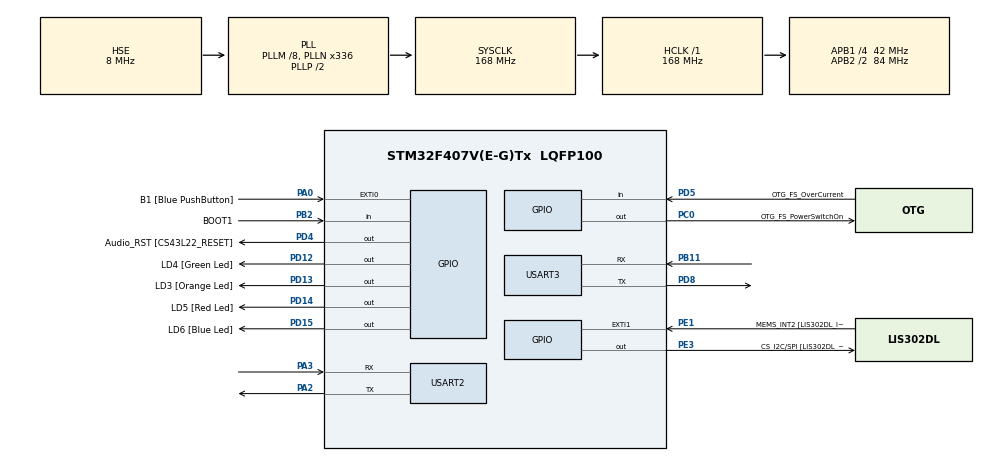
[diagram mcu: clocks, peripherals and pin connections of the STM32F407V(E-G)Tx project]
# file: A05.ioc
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Mcu.Family=STM32F4
PA11.GPIO_Speed=GPIO_SPEED_FREQ_LOW
NVIC.USART3_IRQn=true\:5\:0\:false\:false\:true\:true\:true\:true
PC3.GPIO_Mode=GPIO_MODE_AF_PP
FREERTOS.Queues01=RxTaskQ,16,uint8_t,0,Dynamic,NULL,NULL;TxTaskQ,16,uint8_t,0,Dynamic,NULL,NULL;RxTask2Q,16,uint8_t,0,Dynamic,NULL,NULL;TxTask2Q,16,uint8_t,0,Dynamic,NULL,NULL;dummyTask1Q,16,uint8_t,0,Dynamic,NULL,NULL;dummyTask2Q,16,uint8_t,0,Dynamic,NULL,NULL
PD12.GPIO_Label=LD4 [Green Led]
PH0-OSC_IN.Signal=RCC_OSC_IN
VP_SYS_VS_tim6.Mode=TIM6
RCC.CortexFreq_Value=168000000
PC10.GPIO_PuPd=GPIO_NOPULL
PB10.GPIO_Speed=GPIO_SPEED_FREQ_LOW
PB6.GPIO_Mode=GPIO_MODE_AF_OD
PB10.GPIO_PuPd=GPIO_NOPULL
NVIC.TIM6_DAC_IRQn=true\:0\:0\:false\:false\:true\:false\:false\:true
PA10.GPIO_PuPd=GPIO_NOPULL
PD15.GPIO_Speed=GPIO_SPEED_FREQ_LOW
PC10.Signal=I2S3_CK
PC12.Signal=I2S3_SD
PA14.GPIO_Label=SWCLK
PA7.GPIO_Mode=GPIO_MODE_AF_PP
PC0.GPIO_Label=OTG_FS_PowerSwitchOn
PA6.GPIO_Label=SPI1_MISO [LIS302DL_SDO]
PB6.GPIO_Label=Audio_SCL [CS43L22_SCL]
PC10.GPIO_Speed=GPIO_SPEED_FREQ_LOW
PA11.GPIO_PuPd=GPIO_NOPULL
PB11.Signal=USART3_RX
PC15-OSC32_OUT.GPIO_Label=PC15-OSC32_OUT
PC3.GPIO_Speed=GPIO_SPEED_FREQ_LOW
RCC.SYSCLKSource=RCC_SYSCLKSOURCE_PLLCLK
ProjectManager.StackSize=0x400
PA6.GPIO_Mode=GPIO_MODE_AF_PP
VP_FREERTOS_VS_CMSIS_V2.Mode=CMSIS_V2
PD13.Signal=GPIO_Output
PD14.GPIO_Speed=GPIO_SPEED_FREQ_LOW
FREERTOS.configENABLE_FPU=1
PA12.Signal=USB_OTG_FS_DP
RCC.HCLKFreq_Value=168000000
PD4.Signal=GPIO_Output
RCC.APB2TimFreq_Value=168000000
PB6.Signal=I2C1_SCL
PC7.Signal=I2S3_MCK
PC3.Signal=I2S2_SD
PD8.Signal=USART3_TX
PE1.Signal=GPXTI1
RCC.AHBFreq_Value=168000000
PH0-OSC_IN.Mode=HSE-External-Oscillator
PH0-OSC_IN.GPIO_Label=PH0-OSC_IN
PA9.GPIO_Mode=GPIO_MODE_INPUT
RCC.HSE_VALUE=8000000
PA4.GPIO_PuPd=GPIO_NOPULL
PB2.Signal=GPIO_Input
PA4.GPIO_Speed=GPIO_SPEED_FREQ_LOW
PA6.GPIO_PuPd=GPIO_NOPULL
PC14-OSC32_IN.Mode=LSE-External-Oscillator
PA14.Mode=Serial_Wire
PA5.GPIO_PuPd=GPIO_NOPULL
PA10.GPIO_Label=OTG_FS_ID
PC7.GPIO_Mode=GPIO_MODE_AF_PP
PD5.GPIO_Mode=GPIO_MODE_INPUT
PD14.GPIO_PuPd=GPIO_NOPULL
PB2.GPIO_PuPd=GPIO_NOPULL
PH1-OSC_OUT.Mode=HSE-External-Oscillator
PD13.GPIO_Label=LD3 [Orange Led]
Mcu.Package=LQFP100
PB9.Signal=I2C1_SDA
PA6.Signal=SPI1_MISO
NVIC.TimeBase=TIM6_DAC_IRQn
USART2.VirtualMode=VM_ASYNC
PD12.Signal=GPIO_Output
PD5.GPIO_Label=OTG_FS_OverCurrent
PD15.GPIO_PuPd=GPIO_NOPULL
NVIC.TimeBaseIP=TIM6
PA10.Signal=USB_OTG_FS_ID
PB9.GPIO_PuPd=GPIO_NOPULL
PA10.GPIO_Speed=GPIO_SPEED_FREQ_LOW
RCC.APB2CLKDivider=RCC_HCLK_DIV2
PB9.GPIO_Speed=GPIO_SPEED_FREQ_LOW
RCC.APB1TimFreq_Value=84000000
PC14-OSC32_IN.GPIO_Label=PC14-OSC32_IN
PC12.GPIO_PuPd=GPIO_NOPULL
PA6.GPIO_Speed=GPIO_SPEED_FREQ_LOW
PC0.GPIO_PuPd=GPIO_NOPULL
FREERTOS.configMAX_TASK_NAME_LEN=32
PA12.GPIO_PuPd=GPIO_NOPULL
PA4.GPIO_Label=I2S3_WS [CS43L22_LRCK]
PD15.Signal=GPIO_Output
PC0.PinState=GPIO_PIN_SET
PA12.GPIO_Speed=GPIO_SPEED_FREQ_LOW
PA3.Signal=USART2_RX
PB3.GPIO_Label=SWO
RCC.PLLSourceVirtual=RCC_PLLSOURCE_HSE
PC15-OSC32_OUT.Mode=LSE-External-Oscillator
PD12.GPIO_Speed=GPIO_SPEED_FREQ_LOW
FREERTOS.Tasks01=RxTask,24,128,fvdRxTask,Default,NULL,Dynamic,NULL,NULL;TxTask,8,128,fvdTxTask,Default,NULL,Dynamic,NULL,NULL;RxTask2,24,128,fvdRxTask2,Default,NULL,Dynamic,NULL,NULL;TxTask2,8,128,fvdTxTask2,Default,NULL,Dynamic,NULL,NULL;dummyTask1,8,128,fvddummyTask1,Default,NULL,Dynamic,NULL,NULL;dummyTask2,8,128,fvddummyTask2,Default,NULL,Dynamic,NULL,NULL
PD15.GPIO_Label=LD6 [Blue Led]
PB9.GPIO_Label=Audio_SDA [CS43L22_SDA]
PC10.GPIO_Label=I2S3_SCK [CS43L22_SCLK]
PA9.GPIO_Label=VBUS_FS
PB6.GPIO_PuPd=GPIO_NOPULL
PA11.GPIO_Label=OTG_FS_DM
PE1.GPIO_PuPd=GPIO_NOPULL
PD5.Signal=GPIO_Input
FREERTOS.CountingSemaphores01=TxBufSema,2,Dynamic,NULL;RxBufSema,2,Dynamic,NULL;Tx2BufSema,2,Dynamic,NULL;Rx2BufSema,2,Dynamic,NULL
PC0.Signal=GPIO_Output
PE1.GPIO_ModeDefaultEXTI=GPIO_MODE_EVT_RISING
RCC.APB1CLKDivider=RCC_HCLK_DIV4
PC14-OSC32_IN.Signal=RCC_OSC32_IN
PA9.GPIO_PuPd=GPIO_NOPULL
NVIC.USART2_IRQn=true\:5\:0\:false\:false\:true\:true\:true\:true
PA0-WKUP.GPIO_ModeDefaultEXTI=GPIO_MODE_EVT_RISING
PA12.GPIO_Label=OTG_FS_DP
PA0-WKUP.GPIO_Label=B1 [Blue PushButton]
PA0-WKUP.Signal=GPXTI0
PA10.GPIO_Mode=GPIO_MODE_AF_PP
PA3.Mode=Asynchronous
PA13.Signal=SYS_JTMS-SWDIO
PC10.GPIO_Mode=GPIO_MODE_AF_PP
PD4.GPIO_PuPd=GPIO_NOPULL
PC0.GPIO_Speed=GPIO_SPEED_FREQ_LOW
PB10.GPIO_Mode=GPIO_MODE_AF_PP
PB11.Mode=Asynchronous
ProjectManager.TargetToolchain=STM32CubeIDE
PB10.GPIO_Label=CLK_IN [MP45DT02_CLK]
PA9.Signal=USB_OTG_FS_VBUS
PC7.GPIO_PuPd=GPIO_NOPULL
PC15-OSC32_OUT.Signal=RCC_OSC32_OUT
PD8.Mode=Asynchronous
PA7.GPIO_PuPd=GPIO_NOPULL
PB10.Signal=I2S2_CK
PA5.Signal=SPI1_SCK
board=STM32F407G-DISC1
PD13.GPIO_Speed=GPIO_SPEED_FREQ_LOW
PC7.GPIO_Speed=GPIO_SPEED_FREQ_LOW
RCC.VCOOutputFreq_Value=336000000
PE1.GPIO_Label=MEMS_INT2 [LIS302DL_INT2]
PA7.GPIO_Speed=GPIO_SPEED_FREQ_LOW
PB9.GPIO_Mode=GPIO_MODE_AF_OD
PA12.GPIO_Mode=GPIO_MODE_AF_PP
PA4.GPIO_Mode=GPIO_MODE_AF_PP
RCC.APB2Freq_Value=84000000
PB2.GPIO_Mode=GPIO_MODE_INPUT
PD4.GPIO_Label=Audio_RST [CS43L22_RESET]
PD4.GPIO_Speed=GPIO_SPEED_FREQ_LOW
PE3.GPIO_PuPd=GPIO_NOPULL
PH1-OSC_OUT.Signal=RCC_OSC_OUT
PD13.GPIO_PuPd=GPIO_NOPULL
PD5.GPIO_PuPd=GPIO_NOPULL
PD14.GPIO_Label=LD5 [Red Led]
PH1-OSC_OUT.GPIO_Label=PH1-OSC_OUT
PA13.Mode=Serial_Wire
Mcu.Name=STM32F407V(E-G)Tx
PA2.Signal=USART2_TX
PA13.GPIO_Label=SWDIO
PC7.GPIO_Label=I2S3_MCK [CS43L22_MCLK]
PD14.Signal=GPIO_Output
RCC.48MHZClocksFreq_Value=48000000
PB3.Signal=SYS_JTDO-SWO
PA4.Signal=I2S3_WS
RCC.SYSCLKFreq_VALUE=168000000
PC12.GPIO_Mode=GPIO_MODE_AF_PP
PA7.GPIO_Label=SPI1_MOSI [LIS302DL_SDA/SDI/SDO]
PA5.GPIO_Label=SPI1_SCK [LIS302DL_SCL/SPC]
USART3.VirtualMode=VM_ASYNC
PE3.GPIO_Speed=GPIO_SPEED_FREQ_LOW
PC12.GPIO_Label=I2S3_SD [CS43L22_SDIN]
PA11.Signal=USB_OTG_FS_DM
PA14.Signal=SYS_JTCK-SWCLK
PB2.GPIO_Label=BOOT1
ProjectManager.HeapSize=0x200
RCC.HSI_VALUE=16000000
PA5.GPIO_Speed=GPIO_SPEED_FREQ_LOW
RCC.PLLQ=7
NVIC.PriorityGroup=NVIC_PRIORITYGROUP_4
RCC.PLLM=8
RCC.PLLN=336
PE3.Signal=GPIO_Output
PA2.Mode=Asynchronous
PE3.GPIO_Label=CS_I2C/SPI [LIS302DL_CS_I2C/SPI]
PC3.GPIO_Label=PDM_OUT [MP45DT02_DOUT]
PA0-WKUP.GPIO_PuPd=GPIO_NOPULL
PA11.GPIO_Mode=GPIO_MODE_AF_PP
PB6.GPIO_Speed=GPIO_SPEED_FREQ_LOW
RCC.APB1Freq_Value=42000000
PA5.GPIO_Mode=GPIO_MODE_AF_PP
PC12.GPIO_Speed=GPIO_SPEED_FREQ_LOW
PC3.GPIO_PuPd=GPIO_NOPULL
PD12.GPIO_PuPd=GPIO_NOPULL
PA7.Signal=SPI1_MOSI

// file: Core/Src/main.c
/* USER CODE BEGIN Header */
/**
  ******************************************************************************
  * @file           : main.c
  * @brief          : Main program body
  ******************************************************************************
  * @attention
  *
  * <h2><center>&copy; Copyright (c) 2021 STMicroelectronics.
  * All rights reserved.</center></h2>
  *
  * This software component is licensed by ST under Ultimate Liberty license
  * SLA0044, the "License"; You may not use this file except in compliance with
  * the License. You may obtain a copy of the License at:
  *                             www.st.com/SLA0044
  *
  ******************************************************************************
  */
/* USER CODE END Header */
#include "main.h"
#include "cmsis_os.h"

/* USER CODE BEGIN Includes */
#include "Serial_Driver.h"
/* USER CODE END Includes */

UART_HandleTypeDef huart2;
UART_HandleTypeDef huart3;

/* Definitions for RxTask */
osThreadId_t RxTaskHandle;
const osThreadAttr_t RxTask_attributes = {
  .name = "RxTask",
  .stack_size = 128 * 4,
  .priority = (osPriority_t) osPriorityNormal,
};
/* Definitions for TxTask */
osThreadId_t TxTaskHandle;
const osThreadAttr_t TxTask_attributes = {
  .name = "TxTask",
  .stack_size = 128 * 4,
  .priority = (osPriority_t) osPriorityLow,
};
/* Definitions for RxTask2 */
osThreadId_t RxTask2Handle;
const osThreadAttr_t RxTask2_attributes = {
  .name = "RxTask2",
  .stack_size = 128 * 4,
  .priority = (osPriority_t) osPriorityNormal,
};
/* Definitions for TxTask2 */
osThreadId_t TxTask2Handle;
const osThreadAttr_t TxTask2_attributes = {
  .name = "TxTask2",
  .stack_size = 128 * 4,
  .priority = (osPriority_t) osPriorityLow,
};
/* Definitions for dummyTask1 */
osThreadId_t dummyTask1Handle;
const osThreadAttr_t dummyTask1_attributes = {
  .name = "dummyTask1",
  .stack_size = 128 * 4,
  .priority = (osPriority_t) osPriorityLow,
};
/* Definitions for dummyTask2 */
osThreadId_t dummyTask2Handle;
const osThreadAttr_t dummyTask2_attributes = {
  .name = "dummyTask2",
  .stack_size = 128 * 4,
  .priority = (osPriority_t) osPriorityLow,
};
/* Definitions for RxTaskQ */
osMessageQueueId_t RxTaskQHandle;
const osMessageQueueAttr_t RxTaskQ_attributes = {
  .name = "RxTaskQ"
};
/* Definitions for TxTaskQ */
osMessageQueueId_t TxTaskQHandle;
const osMessageQueueAttr_t TxTaskQ_attributes = {
  .name = "TxTaskQ"
};
/* Definitions for RxTask2Q */
osMessageQueueId_t RxTask2QHandle;
const osMessageQueueAttr_t RxTask2Q_attributes = {
  .name = "RxTask2Q"
};
/* Definitions for TxTask2Q */
osMessageQueueId_t TxTask2QHandle;
const osMessageQueueAttr_t TxTask2Q_attributes = {
  .name = "TxTask2Q"
};
/* Definitions for dummyTask1Q */
osMessageQueueId_t dummyTask1QHandle;
const osMessageQueueAttr_t dummyTask1Q_attributes = {
  .name = "dummyTask1Q"
};
/* Definitions for dummyTask2Q */
osMessageQueueId_t dummyTask2QHandle;
const osMessageQueueAttr_t dummyTask2Q_attributes = {
  .name = "dummyTask2Q"
};
/* Definitions for TxBufSema */
osSemaphoreId_t TxBufSemaHandle;
const osSemaphoreAttr_t TxBufSema_attributes = {
  .name = "TxBufSema"
};
/* Definitions for RxBufSema */
osSemaphoreId_t RxBufSemaHandle;
const osSemaphoreAttr_t RxBufSema_attributes = {
  .name = "RxBufSema"
};
/* Definitions for Tx2BufSema */
osSemaphoreId_t Tx2BufSemaHandle;
const osSemaphoreAttr_t Tx2BufSema_attributes = {
  .name = "Tx2BufSema"
};
/* Definitions for Rx2BufSema */
osSemaphoreId_t Rx2BufSemaHandle;
const osSemaphoreAttr_t Rx2BufSema_attributes = {
  .name = "Rx2BufSema"
};
/* USER CODE BEGIN PV */
stSERIAL_CHANNELTypeDef *pstSerialChannel2;
stSERIAL_CHANNELTypeDef *pstSerialChannel3;

/* USER CODE END PV */

void SystemClock_Config(void);
static void MX_GPIO_Init(void);
static void MX_USART2_UART_Init(void);
static void MX_USART3_UART_Init(void);
void fvdRxTask(void *argument);
void fvdTxTask(void *argument);
void fvdRxTask2(void *argument);
void fvdTxTask2(void *argument);
void fvddummyTask1(void *argument);
void fvddummyTask2(void *argument);

int main(void)
{

  /* MCU Configuration--------------------------------------------------------*/

  /* Reset of all peripherals, Initializes the Flash interface and the Systick. */
  HAL_Init();

  /* Configure the system clock */
  SystemClock_Config();

  /* Initialize all configured peripherals */
  MX_GPIO_Init();
  MX_USART2_UART_Init();
  MX_USART3_UART_Init();

  /* Init scheduler */
  osKernelInitialize();

  /* Create the semaphores(s) */
  /* creation of TxBufSema */
  TxBufSemaHandle = osSemaphoreNew(2, 2, &TxBufSema_attributes);

  /* creation of RxBufSema */
  RxBufSemaHandle = osSemaphoreNew(2, 2, &RxBufSema_attributes);

  /* creation of Tx2BufSema */
  Tx2BufSemaHandle = osSemaphoreNew(2, 2, &Tx2BufSema_attributes);

  /* creation of Rx2BufSema */
  Rx2BufSemaHandle = osSemaphoreNew(2, 2, &Rx2BufSema_attributes);

  /* Create the queue(s) */
  /* creation of RxTaskQ */
  RxTaskQHandle = osMessageQueueNew (16, sizeof(uint8_t), &RxTaskQ_attributes);

  /* creation of TxTaskQ */
  TxTaskQHandle = osMessageQueueNew (16, sizeof(uint8_t), &TxTaskQ_attributes);

  /* creation of RxTask2Q */
  RxTask2QHandle = osMessageQueueNew (16, sizeof(uint8_t), &RxTask2Q_attributes);

  /* creation of TxTask2Q */
  TxTask2QHandle = osMessageQueueNew (16, sizeof(uint8_t), &TxTask2Q_attributes);

  /* creation of dummyTask1Q */
  dummyTask1QHandle = osMessageQueueNew (16, sizeof(uint8_t), &dummyTask1Q_attributes);

  /* creation of dummyTask2Q */
  dummyTask2QHandle = osMessageQueueNew (16, sizeof(uint8_t), &dummyTask2Q_attributes);

  /* Create the thread(s) */
  /* creation of RxTask */
  RxTaskHandle = osThreadNew(fvdRxTask, NULL, &RxTask_attributes);

  /* creation of TxTask */
  TxTaskHandle = osThreadNew(fvdTxTask, NULL, &TxTask_attributes);

  /* creation of RxTask2 */
  RxTask2Handle = osThreadNew(fvdRxTask2, NULL, &RxTask2_attributes);

  /* creation of TxTask2 */
  TxTask2Handle = osThreadNew(fvdTxTask2, NULL, &TxTask2_attributes);

  /* creation of dummyTask1 */
  dummyTask1Handle = osThreadNew(fvddummyTask1, NULL, &dummyTask1_attributes);

  /* creation of dummyTask2 */
  dummyTask2Handle = osThreadNew(fvddummyTask2, NULL, &dummyTask2_attributes);

  /* USER CODE BEGIN RTOS_EVENTS */
  /* add events, ... */
  pstSerialChannel2 = pstCreateSerialChannel(&huart2, RX_BUFFER_SIZE, TX_BUFFER_SIZE,
                                             RxBufSemaHandle, TxBufSemaHandle);
  pstSerialChannel3 = pstCreateSerialChannel(&huart3, RX_BUFFER_SIZE, TX_BUFFER_SIZE,
                                             Rx2BufSemaHandle, Tx2BufSemaHandle);
  /* USER CODE END RTOS_EVENTS */

  /* Start scheduler */
  osKernelStart();

  /* We should never get here as control is now taken by the scheduler */
  /* Infinite loop */
  while (1)
  {

  }
}

void SystemClock_Config(void)
{
  RCC_OscInitTypeDef RCC_OscInitStruct = {0};
  RCC_ClkInitTypeDef RCC_ClkInitStruct = {0};

  /** Configure the main internal regulator output voltage
  */
  __HAL_RCC_PWR_CLK_ENABLE();
  __HAL_PWR_VOLTAGESCALING_CONFIG(PWR_REGULATOR_VOLTAGE_SCALE1);
  /** Initializes the RCC Oscillators according to the specified parameters
  * in the RCC_OscInitTypeDef structure.
  */
  RCC_OscInitStruct.OscillatorType = RCC_OSCILLATORTYPE_HSE;
  RCC_OscInitStruct.HSEState = RCC_HSE_ON;
  RCC_OscInitStruct.PLL.PLLState = RCC_PLL_ON;
  RCC_OscInitStruct.PLL.PLLSource = RCC_PLLSOURCE_HSE;
  RCC_OscInitStruct.PLL.PLLM = 8;
  RCC_OscInitStruct.PLL.PLLN = 336;
  RCC_OscInitStruct.PLL.PLLP = RCC_PLLP_DIV2;
  RCC_OscInitStruct.PLL.PLLQ = 7;
  if (HAL_RCC_OscConfig(&RCC_OscInitStruct) != HAL_OK)
  {
    Error_Handler();
  }
  /** Initializes the CPU, AHB and APB buses clocks
  */
  RCC_ClkInitStruct.ClockType = RCC_CLOCKTYPE_HCLK|RCC_CLOCKTYPE_SYSCLK
                              |RCC_CLOCKTYPE_PCLK1|RCC_CLOCKTYPE_PCLK2;
  RCC_ClkInitStruct.SYSCLKSource = RCC_SYSCLKSOURCE_PLLCLK;
  RCC_ClkInitStruct.AHBCLKDivider = RCC_SYSCLK_DIV1;
  RCC_ClkInitStruct.APB1CLKDivider = RCC_HCLK_DIV4;
  RCC_ClkInitStruct.APB2CLKDivider = RCC_HCLK_DIV2;

  if (HAL_RCC_ClockConfig(&RCC_ClkInitStruct, FLASH_LATENCY_5) != HAL_OK)
  {
    Error_Handler();
  }
}

static void MX_USART2_UART_Init(void)
{

  huart2.Instance = USART2;
  huart2.Init.BaudRate = 115200;
  huart2.Init.WordLength = UART_WORDLENGTH_8B;
  huart2.Init.StopBits = UART_STOPBITS_1;
  huart2.Init.Parity = UART_PARITY_NONE;
  huart2.Init.Mode = UART_MODE_TX_RX;
  huart2.Init.HwFlowCtl = UART_HWCONTROL_NONE;
  huart2.Init.OverSampling = UART_OVERSAMPLING_16;
  if (HAL_UART_Init(&huart2) != HAL_OK)
  {
    Error_Handler();
  }

}

static void MX_USART3_UART_Init(void)
{

  huart3.Instance = USART3;
  huart3.Init.BaudRate = 115200;
  huart3.Init.WordLength = UART_WORDLENGTH_8B;
  huart3.Init.StopBits = UART_STOPBITS_1;
  huart3.Init.Parity = UART_PARITY_NONE;
  huart3.Init.Mode = UART_MODE_TX_RX;
  huart3.Init.HwFlowCtl = UART_HWCONTROL_NONE;
  huart3.Init.OverSampling = UART_OVERSAMPLING_16;
  if (HAL_UART_Init(&huart3) != HAL_OK)
  {
    Error_Handler();
  }

}

static void MX_GPIO_Init(void)
{
  GPIO_InitTypeDef GPIO_InitStruct = {0};

  /* GPIO Ports Clock Enable */
  __HAL_RCC_GPIOE_CLK_ENABLE();
  __HAL_RCC_GPIOC_CLK_ENABLE();
  __HAL_RCC_GPIOH_CLK_ENABLE();
  __HAL_RCC_GPIOA_CLK_ENABLE();
  __HAL_RCC_GPIOB_CLK_ENABLE();
  __HAL_RCC_GPIOD_CLK_ENABLE();

  /*Configure GPIO pin Output Level */
  HAL_GPIO_WritePin(CS_I2C_SPI_GPIO_Port, CS_I2C_SPI_Pin, GPIO_PIN_RESET);

  /*Configure GPIO pin Output Level */
  HAL_GPIO_WritePin(OTG_FS_PowerSwitchOn_GPIO_Port, OTG_FS_PowerSwitchOn_Pin, GPIO_PIN_SET);

  /*Configure GPIO pin Output Level */
  HAL_GPIO_WritePin(GPIOD, LD4_Pin|LD3_Pin|LD5_Pin|LD6_Pin
                          |Audio_RST_Pin, GPIO_PIN_RESET);

  /*Configure GPIO pin : CS_I2C_SPI_Pin */
  GPIO_InitStruct.Pin = CS_I2C_SPI_Pin;
  GPIO_InitStruct.Mode = GPIO_MODE_OUTPUT_PP;
  GPIO_InitStruct.Pull = GPIO_NOPULL;
  GPIO_InitStruct.Speed = GPIO_SPEED_FREQ_LOW;
  HAL_GPIO_Init(CS_I2C_SPI_GPIO_Port, &GPIO_InitStruct);

  /*Configure GPIO pin : OTG_FS_PowerSwitchOn_Pin */
  GPIO_InitStruct.Pin = OTG_FS_PowerSwitchOn_Pin;
  GPIO_InitStruct.Mode = GPIO_MODE_OUTPUT_PP;
  GPIO_InitStruct.Pull = GPIO_NOPULL;
  GPIO_InitStruct.Speed = GPIO_SPEED_FREQ_LOW;
  HAL_GPIO_Init(OTG_FS_PowerSwitchOn_GPIO_Port, &GPIO_InitStruct);

  /*Configure GPIO pin : PDM_OUT_Pin */
  GPIO_InitStruct.Pin = PDM_OUT_Pin;
  GPIO_InitStruct.Mode = GPIO_MODE_AF_PP;
  GPIO_InitStruct.Pull = GPIO_NOPULL;
  GPIO_InitStruct.Speed = GPIO_SPEED_FREQ_LOW;
  GPIO_InitStruct.Alternate = GPIO_AF5_SPI2;
  HAL_GPIO_Init(PDM_OUT_GPIO_Port, &GPIO_InitStruct);

  /*Configure GPIO pin : B1_Pin */
  GPIO_InitStruct.Pin = B1_Pin;
  GPIO_InitStruct.Mode = GPIO_MODE_EVT_RISING;
  GPIO_InitStruct.Pull = GPIO_NOPULL;
  HAL_GPIO_Init(B1_GPIO_Port, &GPIO_InitStruct);

  /*Configure GPIO pin : I2S3_WS_Pin */
  GPIO_InitStruct.Pin = I2S3_WS_Pin;
  GPIO_InitStruct.Mode = GPIO_MODE_AF_PP;
  GPIO_InitStruct.Pull = GPIO_NOPULL;
  GPIO_InitStruct.Speed = GPIO_SPEED_FREQ_LOW;
  GPIO_InitStruct.Alternate = GPIO_AF6_SPI3;
  HAL_GPIO_Init(I2S3_WS_GPIO_Port, &GPIO_InitStruct);

  /*Configure GPIO pins : SPI1_SCK_Pin SPI1_MISO_Pin SPI1_MOSI_Pin */
  GPIO_InitStruct.Pin = SPI1_SCK_Pin|SPI1_MISO_Pin|SPI1_MOSI_Pin;
  GPIO_InitStruct.Mode = GPIO_MODE_AF_PP;
  GPIO_InitStruct.Pull = GPIO_NOPULL;
  GPIO_InitStruct.Speed = GPIO_SPEED_FREQ_LOW;
  GPIO_InitStruct.Alternate = GPIO_AF5_SPI1;
  HAL_GPIO_Init(GPIOA, &GPIO_InitStruct);

  /*Configure GPIO pin : BOOT1_Pin */
  GPIO_InitStruct.Pin = BOOT1_Pin;
  GPIO_InitStruct.Mode = GPIO_MODE_INPUT;
  GPIO_InitStruct.Pull = GPIO_NOPULL;
  HAL_GPIO_Init(BOOT1_GPIO_Port, &GPIO_InitStruct);

  /*Configure GPIO pin : CLK_IN_Pin */
  GPIO_InitStruct.Pin = CLK_IN_Pin;
  GPIO_InitStruct.Mode = GPIO_MODE_AF_PP;
  GPIO_InitStruct.Pull = GPIO_NOPULL;
  GPIO_InitStruct.Speed = GPIO_SPEED_FREQ_LOW;
  GPIO_InitStruct.Alternate = GPIO_AF5_SPI2;
  HAL_GPIO_Init(CLK_IN_GPIO_Port, &GPIO_InitStruct);

  /*Configure GPIO pins : LD4_Pin LD3_Pin LD5_Pin LD6_Pin
                           Audio_RST_Pin */
  GPIO_InitStruct.Pin = LD4_Pin|LD3_Pin|LD5_Pin|LD6_Pin
                          |Audio_RST_Pin;
  GPIO_InitStruct.Mode = GPIO_MODE_OUTPUT_PP;
  GPIO_InitStruct.Pull = GPIO_NOPULL;
  GPIO_InitStruct.Speed = GPIO_SPEED_FREQ_LOW;
  HAL_GPIO_Init(GPIOD, &GPIO_InitStruct);

  /*Configure GPIO pins : I2S3_MCK_Pin I2S3_SCK_Pin I2S3_SD_Pin */
  GPIO_InitStruct.Pin = I2S3_MCK_Pin|I2S3_SCK_Pin|I2S3_SD_Pin;
  GPIO_InitStruct.Mode = GPIO_MODE_AF_PP;
  GPIO_InitStruct.Pull = GPIO_NOPULL;
  GPIO_InitStruct.Speed = GPIO_SPEED_FREQ_LOW;
  GPIO_InitStruct.Alternate = GPIO_AF6_SPI3;
  HAL_GPIO_Init(GPIOC, &GPIO_InitStruct);

  /*Configure GPIO pin : VBUS_FS_Pin */
  GPIO_InitStruct.Pin = VBUS_FS_Pin;
  GPIO_InitStruct.Mode = GPIO_MODE_INPUT;
  GPIO_InitStruct.Pull = GPIO_NOPULL;
  HAL_GPIO_Init(VBUS_FS_GPIO_Port, &GPIO_InitStruct);

  /*Configure GPIO pins : OTG_FS_ID_Pin OTG_FS_DM_Pin OTG_FS_DP_Pin */
  GPIO_InitStruct.Pin = OTG_FS_ID_Pin|OTG_FS_DM_Pin|OTG_FS_DP_Pin;
  GPIO_InitStruct.Mode = GPIO_MODE_AF_PP;
  GPIO_InitStruct.Pull = GPIO_NOPULL;
  GPIO_InitStruct.Speed = GPIO_SPEED_FREQ_LOW;
  GPIO_InitStruct.Alternate = GPIO_AF10_OTG_FS;
  HAL_GPIO_Init(GPIOA, &GPIO_InitStruct);

  /*Configure GPIO pin : OTG_FS_OverCurrent_Pin */
  GPIO_InitStruct.Pin = OTG_FS_OverCurrent_Pin;
  GPIO_InitStruct.Mode = GPIO_MODE_INPUT;
  GPIO_InitStruct.Pull = GPIO_NOPULL;
  HAL_GPIO_Init(OTG_FS_OverCurrent_GPIO_Port, &GPIO_InitStruct);

  /*Configure GPIO pins : Audio_SCL_Pin Audio_SDA_Pin */
  GPIO_InitStruct.Pin = Audio_SCL_Pin|Audio_SDA_Pin;
  GPIO_InitStruct.Mode = GPIO_MODE_AF_OD;
  GPIO_InitStruct.Pull = GPIO_PULLUP;
  GPIO_InitStruct.Speed = GPIO_SPEED_FREQ_LOW;
  GPIO_InitStruct.Alternate = GPIO_AF4_I2C1;
  HAL_GPIO_Init(GPIOB, &GPIO_InitStruct);

  /*Configure GPIO pin : MEMS_INT2_Pin */
  GPIO_InitStruct.Pin = MEMS_INT2_Pin;
  GPIO_InitStruct.Mode = GPIO_MODE_EVT_RISING;
  GPIO_InitStruct.Pull = GPIO_NOPULL;
  HAL_GPIO_Init(MEMS_INT2_GPIO_Port, &GPIO_InitStruct);

}

void fvdRxTask(void *argument)
{
  /* USER CODE BEGIN 5 */
	  int8_t chRxChar;

	  fvdEnableSerialChInterrupts(pstSerialChannel2);
	  /* Infinite loop */
	  for(;;)
	  {
	     chRxChar = fchGetChar(pstSerialChannel2, BLOCKING);

	     osMessageQueuePut(TxTaskQHandle, &chRxChar, 0, osWaitForever);

	  }
  /* USER CODE END 5 */
}

void fvdTxTask(void *argument)
{
  /* USER CODE BEGIN fvdTxTask */
	  char chTxChar;
	  /* Infinite loop */
	  for(;;)
	  {
	    osMessageQueueGet(TxTaskQHandle, &chTxChar, 0, osWaitForever);

	    fuinPutChar(pstSerialChannel2, chTxChar, BLOCKING);
	  }
  /* USER CODE END fvdTxTask */
}

void fvdRxTask2(void *argument)
{
  /* USER CODE BEGIN fvdRxTask2 */
	  int8_t chRxChar;

	  fvdEnableSerialChInterrupts(pstSerialChannel3);
	  /* Infinite loop */
	  for(;;)
	  {
	     chRxChar = fchGetChar(pstSerialChannel3, BLOCKING);

	     osMessageQueuePut(TxTask2QHandle, &chRxChar, 0, osWaitForever);

	  }
  /* USER CODE END fvdRxTask2 */
}

void fvdTxTask2(void *argument)
{
  /* USER CODE BEGIN fvdTxTask2 */
	  char chTxChar;
	  /* Infinite loop */
	  for(;;)
	  {
	    osMessageQueueGet(TxTask2QHandle, &chTxChar, 0, osWaitForever);

	    fuinPutChar(pstSerialChannel3, chTxChar, BLOCKING);
	  }
  /* USER CODE END fvdTxTask2 */
}

void fvddummyTask1(void *argument)
{
  for(;;)
  {
    osDelay(1);
  }
}

void fvddummyTask2(void *argument)
{
  for(;;)
  {
    osDelay(1);
  }
}

 /**
  * @brief  Period elapsed callback in non blocking mode
  * @note   This function is called  when TIM6 interrupt took place, inside
  * HAL_TIM_IRQHandler(). It makes a direct call to HAL_IncTick() to increment
  * a global variable "uwTick" used as application time base.
  * @param  htim : TIM handle
  * @retval None
  */
void HAL_TIM_PeriodElapsedCallback(TIM_HandleTypeDef *htim)
{
  if (htim->Instance == TIM6) {
    HAL_IncTick();
  }
}

void Error_Handler(void)
{
  __disable_irq();
  while (1)
  {
  }
}

/************************ (C) COPYRIGHT STMicroelectronics *****END OF FILE****/
